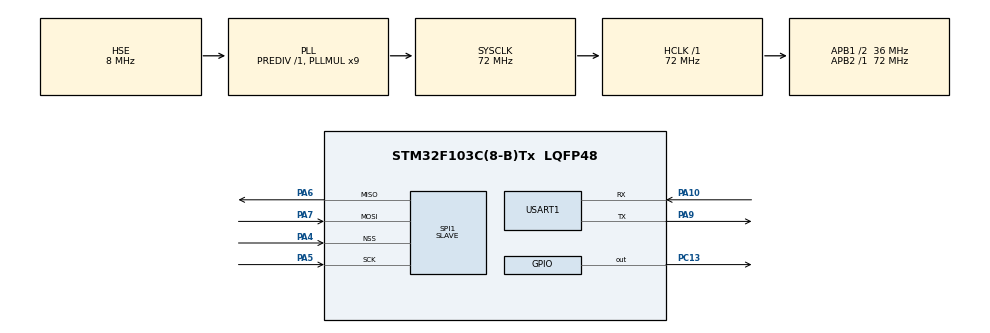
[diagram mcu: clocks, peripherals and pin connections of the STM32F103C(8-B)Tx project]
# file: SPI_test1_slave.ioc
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Dma.Request0=SPI1_RX
Dma.Request1=SPI1_TX
Dma.SPI1_RX.0.Direction=DMA_PERIPH_TO_MEMORY
Dma.SPI1_RX.0.Instance=DMA1_Channel2
Dma.SPI1_RX.0.MemDataAlignment=DMA_MDATAALIGN_BYTE
Dma.SPI1_RX.0.MemInc=DMA_MINC_ENABLE
Dma.SPI1_RX.0.Mode=DMA_CIRCULAR
Dma.SPI1_RX.0.PeriphDataAlignment=DMA_PDATAALIGN_BYTE
Dma.SPI1_RX.0.PeriphInc=DMA_PINC_DISABLE
Dma.SPI1_RX.0.Priority=DMA_PRIORITY_LOW
Dma.SPI1_TX.1.Direction=DMA_MEMORY_TO_PERIPH
Dma.SPI1_TX.1.Instance=DMA1_Channel3
Dma.SPI1_TX.1.MemDataAlignment=DMA_MDATAALIGN_BYTE
Dma.SPI1_TX.1.MemInc=DMA_MINC_ENABLE
Dma.SPI1_TX.1.Mode=DMA_CIRCULAR
Dma.SPI1_TX.1.PeriphDataAlignment=DMA_PDATAALIGN_BYTE
Dma.SPI1_TX.1.PeriphInc=DMA_PINC_DISABLE
Dma.SPI1_TX.1.Priority=DMA_PRIORITY_LOW
Mcu.Family=STM32F1
Mcu.Name=STM32F103C(8-B)Tx
Mcu.Package=LQFP48
NVIC.DMA1_Channel2_IRQn=true\:0\:0\:false\:false\:true\:false\:true\:true
NVIC.DMA1_Channel3_IRQn=true\:0\:0\:false\:false\:true\:false\:true\:true
NVIC.PriorityGroup=NVIC_PRIORITYGROUP_4
NVIC.USART1_IRQn=true\:0\:0\:false\:false\:true\:true\:true\:true
PA10.Mode=Asynchronous
PA10.Signal=USART1_RX
PA13.Mode=Serial_Wire
PA13.Signal=SYS_JTMS-SWDIO
PA14.Mode=Serial_Wire
PA14.Signal=SYS_JTCK-SWCLK
PA4.Mode=NSS_Signal_Hard_Input
PA4.Signal=SPI1_NSS
PA5.Mode=Full_Duplex_Slave
PA5.Signal=SPI1_SCK
PA6.Mode=Full_Duplex_Slave
PA6.Signal=SPI1_MISO
PA7.Mode=Full_Duplex_Slave
PA7.Signal=SPI1_MOSI
PA9.Mode=Asynchronous
PA9.Signal=USART1_TX
PC13-TAMPER-RTC.Signal=GPIO_Output
PD0-OSC_IN.Mode=HSE-External-Oscillator
PD0-OSC_IN.Signal=RCC_OSC_IN
PD1-OSC_OUT.Mode=HSE-External-Oscillator
PD1-OSC_OUT.Signal=RCC_OSC_OUT
ProjectManager.HeapSize=0x200
ProjectManager.StackSize=0x400
ProjectManager.TargetToolchain=MDK-ARM V5.32
RCC.AHBFreq_Value=72000000
RCC.APB1CLKDivider=RCC_HCLK_DIV2
RCC.APB1Freq_Value=36000000
RCC.APB1TimFreq_Value=72000000
RCC.APB2Freq_Value=72000000
RCC.APB2TimFreq_Value=72000000
RCC.HCLKFreq_Value=72000000
RCC.PLLMUL=RCC_PLL_MUL9
RCC.PLLSourceVirtual=RCC_PLLSOURCE_HSE
RCC.SYSCLKFreq_VALUE=72000000
RCC.SYSCLKSource=RCC_SYSCLKSOURCE_PLLCLK
RCC.USBFreq_Value=72000000
SPI1.CLKPhase=SPI_PHASE_1EDGE
SPI1.CRCCalculation=SPI_CRCCALCULATION_DISABLE
SPI1.Direction=SPI_DIRECTION_2LINES
SPI1.Mode=SPI_MODE_SLAVE
SPI1.VirtualNSS=VM_NSSHARD
SPI1.VirtualType=VM_SLAVE
USART1.VirtualMode=VM_ASYNC
board=custom

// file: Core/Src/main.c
/* USER CODE BEGIN Header */
/**
  ******************************************************************************
  * @file           : main.c
  * @brief          : Main program body
  ******************************************************************************
  * @attention
  *
  * Copyright (c) 2023 STMicroelectronics.
  * All rights reserved.
  *
  * This software is licensed under terms that can be found in the LICENSE file
  * in the root directory of this software component.
  * If no LICENSE file comes with this software, it is provided AS-IS.
  *
  ******************************************************************************
  */
/* USER CODE END Header */
#include "main.h"
#include "dma.h"
#include "spi.h"
#include "usart.h"
#include "gpio.h"

/* USER CODE BEGIN Includes */
#include "led.h"
//#include "uart.h"

/* USER CODE END Includes */

void SystemClock_Config(void);

/* USER CODE BEGIN 0 */
extern uint8_t Uart1_RxData;

// 要发送的数据
uint8_t sendData[] = {
  0x11, 0x12, 0x13, 0x14, // 第一个数据包
  0x15, 0x16, 0x17, 0x18, // 第二个数据包
};
// 要接收的数据
uint8_t receiveData[20];

/* USER CODE END 0 */

int main(void)
{

  /* MCU Configuration--------------------------------------------------------*/

  /* Reset of all peripherals, Initializes the Flash interface and the Systick. */
  HAL_Init();

  /* Configure the system clock */
  SystemClock_Config();

  /* Initialize all configured peripherals */
  MX_GPIO_Init();
  MX_DMA_Init();
  MX_USART1_UART_Init();
  MX_SPI1_Init();
  /* USER CODE BEGIN 2 */
	HAL_UART_Receive_IT(&huart1,(uint8_t *)&Uart1_RxData, 1); //开启串口中断

	/* 启动SPI DMA接收 */
//HAL_SPI_Receive_DMA(&hspi1, receiveData, 8);
//HAL_SPI_Transmit_DMA(&hspi1, sendData, 8);
  HAL_SPI_TransmitReceive_DMA(&hspi1, sendData, receiveData, 8);//发送8个，接收8个，如果开了CRC，DMA方式调用时，Size要加一

  /* USER CODE END 2 */

  /* Infinite loop */
  /* USER CODE BEGIN WHILE */
  while (1)
  {

		//打印receiveData
		printf("Received Data: ");
		for (int i = 0; i < 20; i++) {
			printf("%02X ", receiveData[i]);
		}
		printf("\r\n");

		//LED闪烁
		LED_Contrary();
		HAL_Delay(500);//500ms

    /* USER CODE END WHILE */

  }
}

void SystemClock_Config(void)
{
  RCC_OscInitTypeDef RCC_OscInitStruct = {0};
  RCC_ClkInitTypeDef RCC_ClkInitStruct = {0};

  /** Initializes the RCC Oscillators according to the specified parameters
  * in the RCC_OscInitTypeDef structure.
  */
  RCC_OscInitStruct.OscillatorType = RCC_OSCILLATORTYPE_HSE;
  RCC_OscInitStruct.HSEState = RCC_HSE_ON;
  RCC_OscInitStruct.HSEPredivValue = RCC_HSE_PREDIV_DIV1;
  RCC_OscInitStruct.HSIState = RCC_HSI_ON;
  RCC_OscInitStruct.PLL.PLLState = RCC_PLL_ON;
  RCC_OscInitStruct.PLL.PLLSource = RCC_PLLSOURCE_HSE;
  RCC_OscInitStruct.PLL.PLLMUL = RCC_PLL_MUL9;
  if (HAL_RCC_OscConfig(&RCC_OscInitStruct) != HAL_OK)
  {
    Error_Handler();
  }

  /** Initializes the CPU, AHB and APB buses clocks
  */
  RCC_ClkInitStruct.ClockType = RCC_CLOCKTYPE_HCLK|RCC_CLOCKTYPE_SYSCLK
                              |RCC_CLOCKTYPE_PCLK1|RCC_CLOCKTYPE_PCLK2;
  RCC_ClkInitStruct.SYSCLKSource = RCC_SYSCLKSOURCE_PLLCLK;
  RCC_ClkInitStruct.AHBCLKDivider = RCC_SYSCLK_DIV1;
  RCC_ClkInitStruct.APB1CLKDivider = RCC_HCLK_DIV2;
  RCC_ClkInitStruct.APB2CLKDivider = RCC_HCLK_DIV1;

  if (HAL_RCC_ClockConfig(&RCC_ClkInitStruct, FLASH_LATENCY_2) != HAL_OK)
  {
    Error_Handler();
  }
}

/* USER CODE BEGIN 4 */
//void HAL_SPI_RxCpltCallback(SPI_HandleTypeDef *hspi)
//{
//  // 数据接收完成回调函数
//	if (hspi == &hspi2)
//	{
//		//打印receiveData
////		printf("Received Data: ");
////		for (int i = 0; i < 4; i++) {
////			printf("%02X ", receiveData[i]);
////		}
////		printf("\r\n");
//		HAL_SPI_Receive_IT(&hspi2, receiveData, RxSize);
//	}
//}

/* USER CODE END 4 */

void Error_Handler(void)
{
  __disable_irq();
  while (1)
  {
  }
}
